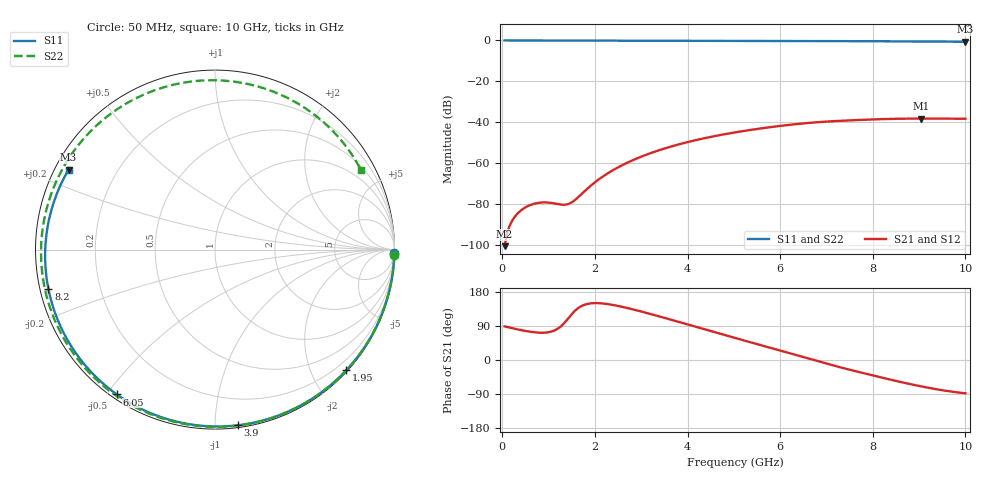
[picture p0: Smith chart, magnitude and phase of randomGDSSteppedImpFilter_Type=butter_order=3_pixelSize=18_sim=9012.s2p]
! freq	dB(S11)	phase(S11)	dB(S12)	phase(S12)
!  dB(S21)	phase(S21)	dB(S22)	phase(S22)
!S-par simulation data
#  GHz  S  DB  R 50
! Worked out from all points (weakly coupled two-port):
!   200 points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, 50 MHz to 10 GHz, reference 50 ohm
!   highest |S21| = -38.13 dB at 9.05 GHz (marker M1); lowest = -100.4 dB at 50 MHz (marker M2)
!   lowest |S11| = -0.6 dB at 10 GHz (marker M3), VSWR 27.30, Z = 1.95 + j12.7 ohm
!   |S11| at or under -10 dB: nowhere
!   |S22| runs from -0.7 to 0.0 dB; largest |S21 - S12| = 0
!   S11 on the Smith chart (normalised r, x): 50 MHz: open; 1.95 GHz: 0.02, -2.56; 3.9 GHz: 0.02, -1.14; 6.05 GHz: 0.02, -0.53; 8.2 GHz: 0.02, -0.12; 10 GHz: 0.04, +0.25
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0.05  -0.00 -1.1  -100.38 88.7  -100.38 88.7  -0.00 -1.8
0.7  -0.02 -15.5  -79.62 73.0  -79.62 73.0  -0.03 -25.1
0.95  -0.03 -21.0  -79.05 72.5  -79.05 72.5  -0.04 -33.8
1.4  -0.04 -30.8  -79.98 106.3  -79.98 106.3  -0.06 -49.4
1.55  -0.04 -34.0  -78.20 127.6  -78.20 127.6  -0.07 -54.5
1.75  -0.05 -38.3  -74.13 144.6  -74.13 144.6  -0.08 -61.1
1.95  -0.05 -42.6  -70.14 149.9  -70.14 149.9  -0.08 -67.7
2.25  -0.06 -48.9  -65.22 148.0  -65.22 148.0  -0.10 -77.4
2.6  -0.07 -56.3  -60.74 140.0  -60.74 140.0  -0.11 -88.4
3.4  -0.10 -72.6  -53.46 114.7  -53.46 114.7  -0.14 -112.5
3.9  -0.11 -82.6  -50.18 97.4  -50.18 97.4  -0.16 -126.9
4.5  -0.14 -94.4  -47.06 76.4  -47.06 76.4  -0.19 -143.9
5.05  -0.16 -105.0  -44.76 57.4  -44.76 57.4  -0.22 -159.3
5.55  -0.19 -114.6  -43.03 40.3  -43.03 40.3  -0.25 -173.4
6.05  -0.22 -124.1  -41.56 23.1  -41.56 23.1  -0.29 172.2
6.7  -0.27 -136.6  -40.08 0.7  -40.08 0.7  -0.34 152.7
7.4  -0.33 -150.3  -39.10 -22.5  -39.10 -22.5  -0.40 130.2
8.2  -0.41 -166.6  -38.38 -46.6  -38.38 -46.6  -0.47 102.1
8.35  -0.43 -169.8  -38.29 -50.9  -38.29 -50.9  -0.49 96.5
9.05  -0.51 174.7  -38.13 -69.8  -38.13 -69.8  -0.56 68.8
9.5  -0.57 164.1  -38.17 -79.7  -38.17 -79.7  -0.61 49.9
10  -0.64 151.4  -38.19 -87.8  -38.19 -87.8  -0.67 28.4
